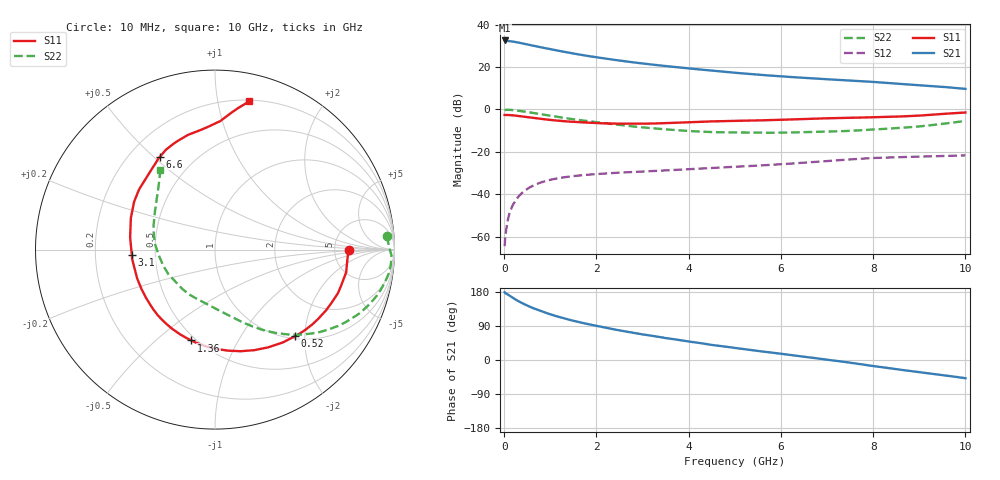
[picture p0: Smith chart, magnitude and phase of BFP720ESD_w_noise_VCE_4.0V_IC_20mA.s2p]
! Infineon Technologies  Discrete & RF Semiconductors
! BFP720ESD
! VCE =  4.0 V,  IC =  20 mA
! Common Emitter S-Parameters:  Jan 2016
# GHz  S  MA  R  50
!  f  S11  S21  S12  S22
! GHz  MAG  ANG  MAG  ANG  MAG  ANG  MAG  ANG
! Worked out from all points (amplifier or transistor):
!   233 points, 10 MHz to 10 GHz, reference 50 ohm
!   highest |S21| = 32.5 dB at 10 MHz (marker M1)
!   |S21| within 3 dB of that: start of sweep to 749.2 MHz
!   unconditionally stable (mu >= 1): start of sweep to 15.38 MHz; 4.514 GHz to 6.894 GHz
!   at 200 MHz: K = 0.19, MSG = 38.3 dB, |S12| = -44.6 dB
!   at 1.74 GHz: K = 0.57, MSG = 28.2 dB, |S12| = -30.9 dB
!   at 10 GHz: K = 0.67, MSG = 15.7 dB, |S12| = -21.7 dB
!   lowest NFmin = 0.95 dB at 450 MHz
!   S11 on the Smith chart (normalised r, x): 10 MHz: 6.82, +0.00; 520 MHz: 1.05, -1.78; 1.36 GHz: 0.47, -0.66; 3.1 GHz: 0.37, -0.03; 6.6 GHz: 0.32, +0.52; 10 GHz: 0.21, +1.24
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0.01  0.7443 0.0  42.35 178.8  0.0006 24.1  0.9602 4.4
0.02  0.7417 -1.4  41.55 177.0  0.0009 64.3  0.9732 0.1
0.1  0.7417 -9.9  41.03 171.2  0.0031 79.8  0.9833 -5.3
0.15  0.7326 -14.9  40.44 167.1  0.0045 78.0  0.9755 -8.2
0.26  0.7125 -25.1  38.57 158.6  0.0075 74.3  0.9482 -14.0
0.4  0.6842 -37.5  36.01 149.4  0.0111 69.2  0.905 -20.5
0.52  0.6564 -47.4  33.79 142.6  0.0138 65.1  0.8651 -25.4
0.7  0.6195 -61.6  30.79 133.4  0.0174 59.4  0.8061 -31.9
0.9  0.5835 -76.0  27.79 124.6  0.0206 53.9  0.7431 -38.2
1.1  0.5534 -89.2  25.14 116.8  0.0232 49.5  0.6848 -43.6
1.36  0.5231 -104.7  22.22 107.9  0.0257 44.8  0.6189 -49.7
1.68  0.4976 -121.0  19.33 98.3  0.0282 40.6  0.5541 -55.9
1.98  0.4808 -134.4  17.12 90.5  0.03 37.8  0.5051 -60.8
2.34  0.4654 -149.4  15.03 81.8  0.0317 35.3  0.4535 -66.6
3.1  0.4645 -176.5  11.8 65.9  0.0349 32.3  0.3703 -79.0
3.4  0.4728 174.6  10.84 60.1  0.0362 31.8  0.3473 -84.1
4  0.5007 159.4  9.307 48.8  0.0391 31.0  0.3114 -96.0
5.1  0.5416 140.1  7.189 30.3  0.0452 28.9  0.287 -121.5
6.6  0.6016 120.6  5.478 7.1  0.0566 25.3  0.2947 -154.5
6.8  0.6102 118.4  5.311 4.1  0.0586 24.5  0.2974 -158.5
8.4  0.6723 96.5  4.144 -22.5  0.0743 11.6  0.3575 163.2
10  0.8487 77.0  3.057 -48.1  0.0826 -0.9  0.5365 124.5
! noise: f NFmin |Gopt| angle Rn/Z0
0.45  0.95  0.04  -8  0.11
0.9  0.97  0.03  -30  0.12
1.9  0.99  0.04  -77  0.14
2.4  1  0.06  -94  0.15
5.5  1.16  0.21  -108  0.13
10  1.52  0.52  -86  0.45
